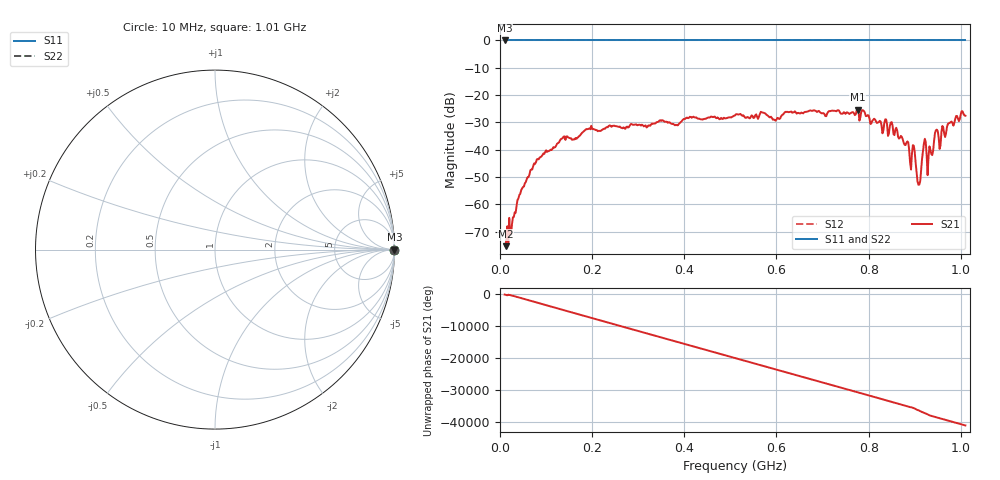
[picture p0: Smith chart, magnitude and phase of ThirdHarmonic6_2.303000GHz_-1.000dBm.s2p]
! 8/17/2025 3:08:39 AM
! C:\ANRITSUVNA\TEMP\TEMP.S2P
! CHANNEL.1
! TR.MEASUREMENT
! RAW.DATA
! RF.CORRECTION.OFF
! AVERAGING.OFF
! IF.BANDWIDTH: 5KHZ
! SWEEPTYPE:  FREQ.SWEEP(Linear)
! Reference Plane Port Info
! PORT:  PORT1  PORT2
! DISTANCE:  0  m  0  m
! TIME:  0  s  0  s
! PHASE.OFFSET:  0  deg.  0  deg.
! LOSS:  0  dB  0  dB
! REF.LOSS:  0  dB  0  dB
! REF.FREQ:  0  Hz  0  Hz
! Power Info
! POWER:  -20  dBm  -20  dBm
! EFF.POWER:  -20  dBm  -20  dBm
! SOURCE.ATTEN:  0  dB  0  dB
! TEST.ATTEN:  0  dB  0  dB
# GHZ S RI R 50.0
! FREQ.GHZ  S11RE  S11IM  S21RE  S21IM  S12RE  S12IM  S22RE  S22IM
!; PortSelection: Port_12
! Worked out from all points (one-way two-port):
!   501 points, 10 MHz to 1.01 GHz, reference 50 ohm
!   highest |S21| = -25.39 dB at 776 MHz (marker M1); lowest = -75.3 dB at 12 MHz (marker M2)
!   lowest |S11| = 0.0 dB at 10 MHz (marker M3)
!   |S11| at or under -10 dB: nowhere
!   |S22| runs from 0.0 to 0.0 dB; largest |S21 - S12| = 1.1
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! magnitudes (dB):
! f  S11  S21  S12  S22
! 10 MHz  0.0  -74.6  0.0  0.0
! 12 MHz  0.0  -75.3  0.0  0.0
! 42 MHz  0.0  -56.5  0.0  0.0
! 78 MHz  0.0  -44.6  0.0  0.0
! 136 MHz  0.0  -35.8  0.0  0.0
! 178 MHz  0.0  -33.8  0.0  0.0
! 344 MHz  0.0  -29.7  0.0  0.0
! 510 MHz  0.0  -27.5  0.0  0.0
! 596 MHz  0.0  -29.0  0.0  0.0
! 678 MHz  0.0  -25.8  0.0  0.0
! 776 MHz  0.0  -25.4  0.0  0.0
! 844 MHz  0.0  -34.1  0.0  0.0
! 884 MHz  0.0  -37.0  0.0  0.0
! 890 MHz  0.0  -44.8  0.0  0.0
! 898 MHz  0.0  -38.5  0.0  0.0
! 908 MHz  0.0  -52.8  0.0  0.0
! 920 MHz  0.0  -37.7  0.0  0.0
! 932 MHz  0.0  -38.8  0.0  0.0
! 946 MHz  0.0  -32.9  0.0  0.0
! 954 MHz  0.0  -39.7  0.0  0.0
! 976 MHz  0.0  -30.2  0.0  0.0
! 1.01 GHz  0.0  -27.6  0.0  0.0
